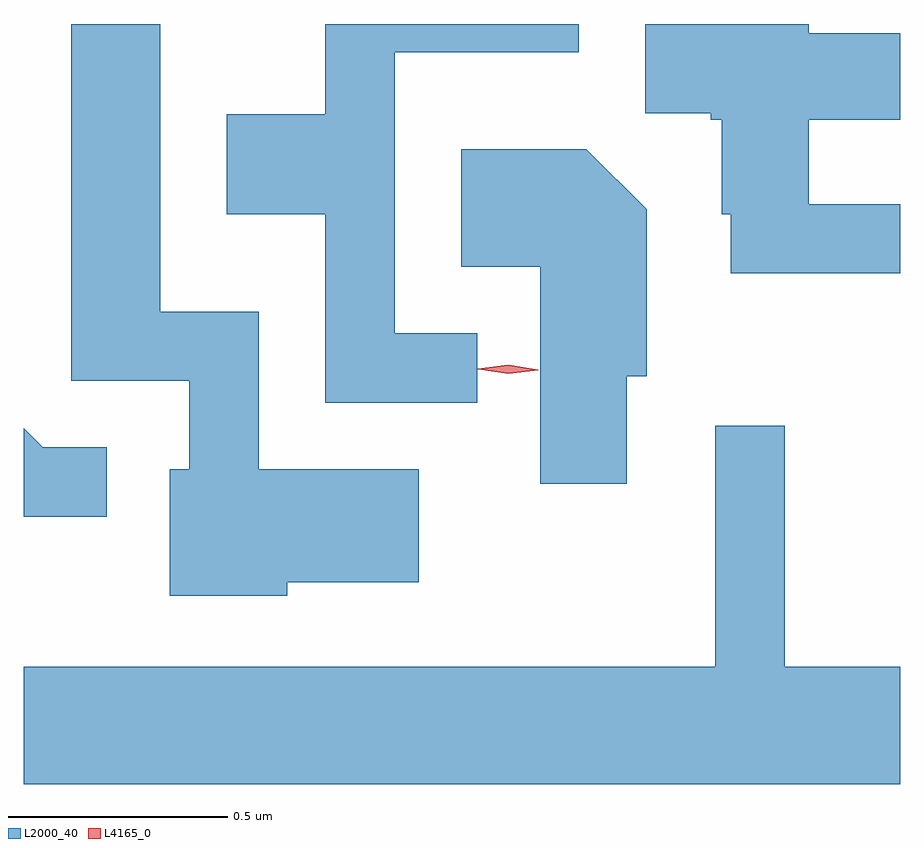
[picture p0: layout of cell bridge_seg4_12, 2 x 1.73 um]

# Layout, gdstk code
import gdstk
lib = gdstk.Library(unit=1e-6, precision=1e-09)
def P(c, l, *ps):  # polygons
    for p in ps: c.add(gdstk.Polygon(p, *l))
L2000_40 = (2000, 40)
L4165_0 = (4165, 0)

bridge_seg4_12 = lib.new_cell('bridge_seg4_12')
P(bridge_seg4_12, L2000_40, [(1170.448,1284.664),(1170.259,1284.664),(1170.259,1285.306),(1170.679,1285.306),(1170.679,1285.37),(1170.101,1285.37),(1170.101,1285.164),(1169.876,1285.164),(1169.876,1284.936),(1170.101,1284.936),(1170.101,1284.506),(1170.448,1284.506)],
  [(1170.014,1284.096),(1170.314,1284.096),(1170.314,1284.354),(1169.949,1284.354),(1169.949,1284.714),(1169.724,1284.714),(1169.724,1285.37),(1169.521,1285.37),(1169.521,1284.556),(1169.791,1284.556),(1169.791,1284.354),(1169.746,1284.354),(1169.746,1284.066),(1170.014,1284.066)],
  [(1171.413,1284.959),(1171.204,1284.959),(1171.204,1285.151),(1171.413,1285.151),(1171.413,1285.349),(1171.204,1285.349),(1171.204,1285.37),(1170.831,1285.37),(1170.831,1285.166),(1170.98,1285.166),(1170.98,1285.151),(1171.006,1285.151),(1171.006,1284.936),(1171.026,1284.936),(1171.026,1284.801),(1171.413,1284.801)],
  [(1170.789,1284.566),(1170.834,1284.566),(1170.834,1284.947),(1170.697,1285.084),(1170.411,1285.084),(1170.411,1284.816),(1170.591,1284.816),(1170.591,1284.321),(1170.789,1284.321)],
  [(1171.413,1283.904),(1171.149,1283.904),(1171.149,1284.453),(1170.991,1284.453),(1170.991,1283.904),(1169.413,1283.904),(1169.413,1283.636),(1171.413,1283.636)],
  [(1169.603,1284.404),(1169.457,1284.404),(1169.413,1284.448),(1169.413,1284.246),(1169.603,1284.246)])
P(bridge_seg4_12, L4165_0, [(1170.518,1284.572),(1170.449,1284.582),(1170.448,1284.583),(1170.449,1284.583),(1170.518,1284.592),(1170.587,1284.581),(1170.587,1284.581),(1170.587,1284.58)])

lib.write_gds('bridge_seg4_12.gds')
